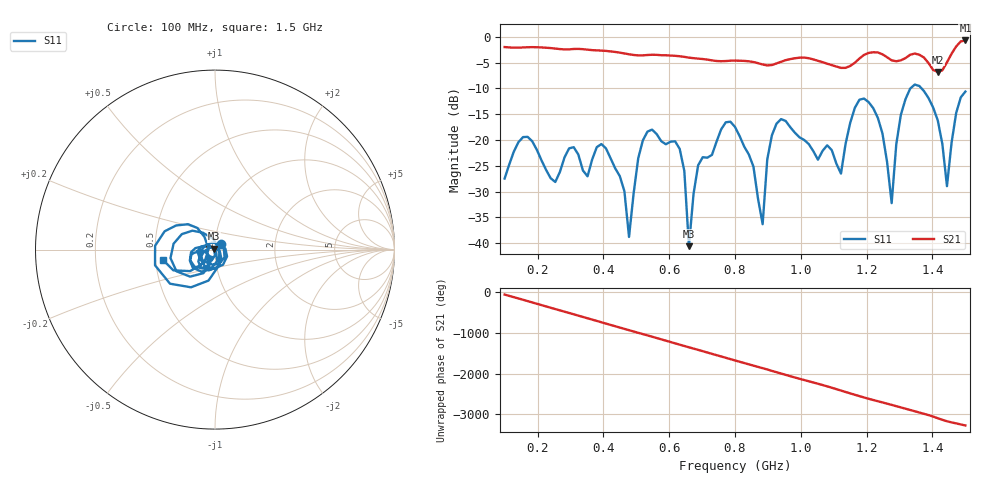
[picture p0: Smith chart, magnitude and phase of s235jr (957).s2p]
! NanoVNA-App
! Date: 2025-09-25 15:11:37
! Start: 100MHz Stop: 1,5GHz Points: 101
! S-Parameter data: F S11 S21 S12 S22
# Hz S RI R 50
!  Frequency  S11_Real  S11_Imag  S21_Real  S21_Imag  S12_Real  S12_Imag  S22_Real  S22_Imag
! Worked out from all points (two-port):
!   101 points, 100 MHz to 1.5 GHz, reference 50 ohm
!   highest |S21| = -0.68 dB at 1.5 GHz (marker M1); lowest = -6.8 dB at 1.416 GHz (marker M2)
!   |S21| within 3 dB of the highest: start of sweep to 621.8 MHz; 1.188 GHz to 1.256 GHz (67.75 MHz wide, 5.54 % of centre) (the widest 2 of 4)
!   lowest |S11| = -40.6 dB at 660 MHz (marker M3), VSWR 1.02, Z = 49.2 + j0.535 ohm
!   |S11| at or under -10 dB: start of sweep to 1.333 GHz; 1.367 GHz to end of sweep
!   S12 and S22 are empty: the file has one direction only
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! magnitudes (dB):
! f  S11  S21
! 100 MHz  -27.5  -2.0
! 156 MHz  -19.4  -2.0
! 338 MHz  -25.9  -2.4
! 408 MHz  -21.6  -2.7
! 478 MHz  -38.8  -3.4
! 520 MHz  -20.1  -3.6
! 576 MHz  -20.2  -3.5
! 632 MHz  -21.7  -3.7
! 660 MHz  -40.6  -4.0
! 688 MHz  -24.9  -4.2
! 800 MHz  -17.5  -4.6
! 884 MHz  -36.3  -5.3
! 926 MHz  -16.8  -5.1
! 1.038 GHz  -22.2  -4.4
! 1.122 GHz  -26.5  -6.0
! 1.192 GHz  -12.0  -3.5
! 1.248 GHz  -18.7  -3.4
! 1.276 GHz  -32.2  -4.5
! 1.332 GHz  -10.0  -3.5
! 1.416 GHz  -16.2  -6.8
! 1.444 GHz  -29.0  -4.9
! 1.5 GHz  -10.6  -0.7
